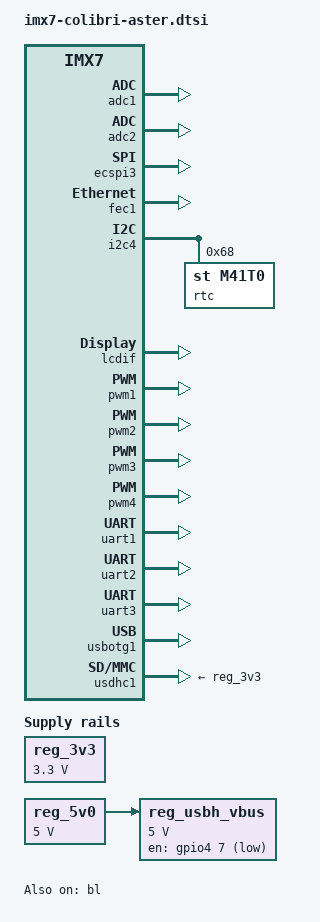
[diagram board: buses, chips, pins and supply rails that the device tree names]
// SPDX-License-Identifier: (GPL-2.0 OR MIT)
/*
 * Copyright 2016 Toradex AG
 */

/ {
	chosen {
		stdout-path = "serial0:115200n8";
	};

	reg_3v3: regulator-3v3 {
		compatible = "regulator-fixed";
		regulator-name = "3.3V";
		regulator-min-microvolt = <3300000>;
		regulator-max-microvolt = <3300000>;
		regulator-always-on;
	};

	reg_5v0: regulator-5v0 {
		compatible = "regulator-fixed";
		regulator-name = "5V";
		regulator-min-microvolt = <5000000>;
		regulator-max-microvolt = <5000000>;
	};

	reg_usbh_vbus: regulator-usbh-vbus {
		compatible = "regulator-fixed";
		pinctrl-names = "default";
		pinctrl-0 = <&pinctrl_usbh_reg>;
		regulator-name = "VCC_USB[1-4]";
		regulator-min-microvolt = <5000000>;
		regulator-max-microvolt = <5000000>;
		gpio = <&gpio4 7 GPIO_ACTIVE_LOW>;
		vin-supply = <&reg_5v0>;
	};
};

&bl {
	brightness-levels = <0 4 8 16 32 64 128 255>;
	default-brightness-level = <6>;
	status = "okay";
};

&adc1 {
	status = "okay";
};

&adc2 {
	status = "okay";
};

&ecspi3 {
	status = "okay";
};

&fec1 {
	status = "okay";
};

&i2c4 {
	status = "okay";

	/* M41T0M6 real time clock on carrier board */
	rtc: m41t0m6@68 {
		compatible = "st,m41t0";
		reg = <0x68>;
	};
};

&lcdif {
	display = <&display0>;
	status = "okay";

	display0: lcd-display {
		bits-per-pixel = <16>;
		bus-width = <18>;

		display-timings {
			native-mode = <&timing_vga>;

			/* Standard VGA timing */
			timing_vga: 640x480 {
				clock-frequency = <25175000>;
				hactive = <640>;
				vactive = <480>;
				hback-porch = <40>;
				hfront-porch = <24>;
				vback-porch = <32>;
				vfront-porch = <11>;
				hsync-len = <96>;
				vsync-len = <2>;

				de-active = <1>;
				hsync-active = <0>;
				vsync-active = <0>;
				pixelclk-active = <0>;
			};

			/* WVGA Timing, e.g. EDT ET070080DH6 */
			timing_wvga: 800x480 {
				clock-frequency = <33260000>;
				hactive = <800>;
				vactive = <480>;
				hback-porch = <216>;
				hfront-porch = <40>;
				vback-porch = <35>;
				vfront-porch = <10>;
				hsync-len = <128>;
				vsync-len = <2>;

				de-active = <1>;
				hsync-active = <0>;
				vsync-active = <0>;
				pixelclk-active = <0>;
			};

			/* Standard SVGA timing */
			timing_svga: 800x600 {
				clock-frequency = <40000000>;
				hactive = <800>;
				vactive = <600>;
				hback-porch = <88>;
				hfront-porch = <40>;
				vback-porch = <23>;
				vfront-porch = <1>;
				hsync-len = <128>;
				vsync-len = <4>;

				de-active = <1>;
				hsync-active = <1>;
				vsync-active = <1>;
				pixelclk-active = <0>;
			};

			/* Standard XGA timing */
			timing_xga: 1024x768 {
				clock-frequency = <65000000>;
				hactive = <1024>;
				vactive = <768>;
				hback-porch = <160>;
				hfront-porch = <24>;
				vback-porch = <29>;
				vfront-porch = <3>;
				hsync-len = <136>;
				vsync-len = <6>;

				de-active = <1>;
				hsync-active = <0>;
				vsync-active = <0>;
				pixelclk-active = <0>;
			};
		};
	};
};

&pwm1 {
	status = "okay";
};

&pwm2 {
	status = "okay";
};

&pwm3 {
	status = "okay";
};

&pwm4 {
	status = "okay";
};

&uart1 {
	status = "okay";
};

&uart2 {
	status = "okay";
};

&uart3 {
	status = "okay";
};

&usbotg1 {
	status = "okay";
};

&usdhc1 {
	keep-power-in-suspend;
	wakeup-source;
	vmmc-supply = <&reg_3v3>;
	status = "okay";
};
